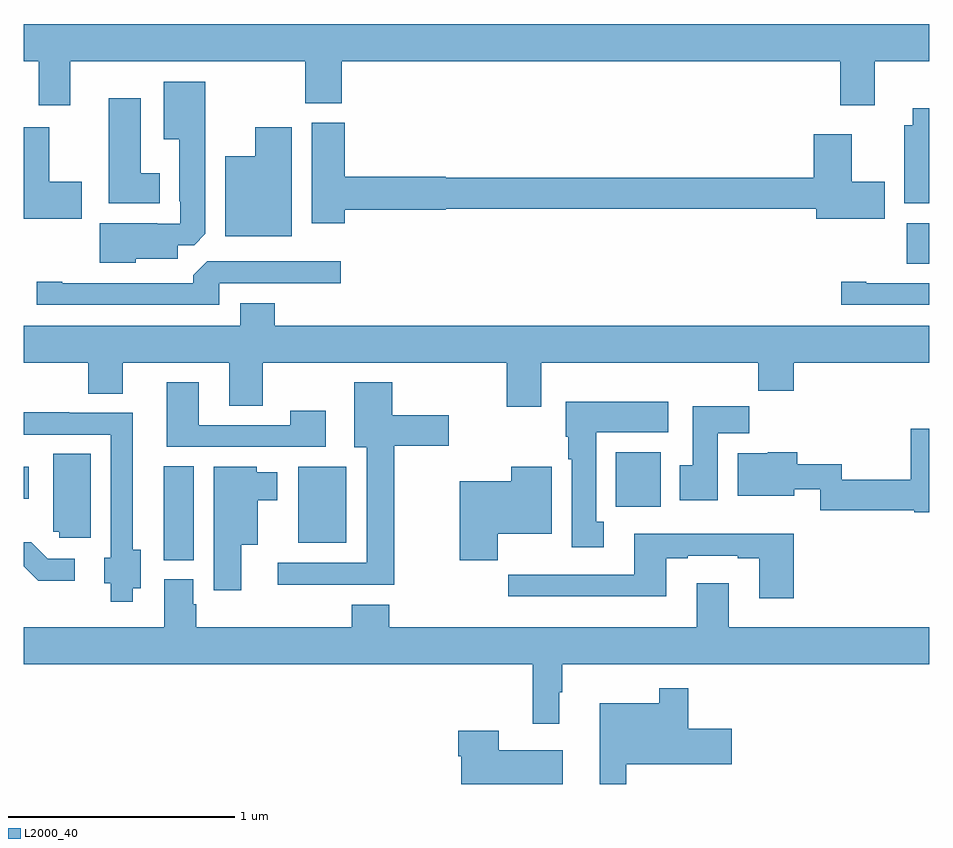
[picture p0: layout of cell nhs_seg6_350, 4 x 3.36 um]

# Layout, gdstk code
import gdstk
lib = gdstk.Library(unit=1e-6, precision=1e-09)
def R(c, l, rs):  # rectangles x0, y0, x1, y1
    for r in rs: c.add(gdstk.rectangle(r[:2], r[2:], *l))
def P(c, l, *ps):  # polygons
    for p in ps: c.add(gdstk.Polygon(p, *l))
L2000_40 = (2000, 40)

nhs_seg6_350 = lib.new_cell('nhs_seg6_350')
R(nhs_seg6_350, L2000_40, [(131.618,922.489,131.752,922.904), (132.212,922.565,132.424,922.9), (133.616,922.724,133.813,922.966), (131,922.76,131.023,922.9), (134.9,923.797,135,923.976)])
P(nhs_seg6_350, L2000_40, [(131.206,924.692),(132.244,924.692),(132.244,924.505),(132.404,924.505),(132.404,924.692),(134.606,924.692),(134.606,924.498),(134.758,924.498),(134.758,924.692),(135,924.692),(135,924.856),(131,924.856),(131,924.692),(131.066,924.692),(131.066,924.498),(131.206,924.498)],
  [(131.496,923.819),(131.68,923.819),(131.68,923.88),(131.754,923.88),(131.803,923.929),(131.803,924.601),(131.618,924.601),(131.618,924.347),(131.687,924.347),(131.687,924.073),(131.691,924.073),(131.691,923.973),(131.591,923.973),(131.591,923.977),(131.336,923.977),(131.336,923.801),(131.496,923.801)],
  [(131.602,924.196),(131.518,924.196),(131.518,924.529),(131.375,924.529),(131.375,924.065),(131.602,924.065)],
  [(135,924.484),(134.927,924.484),(134.927,924.409),(134.888,924.409),(134.888,924.065),(135,924.065)],
  [(132.419,924.035),(132.864,924.035),(132.864,924.04),(134.501,924.04),(134.501,923.996),(134.803,923.996),(134.803,924.159),(134.656,924.159),(134.656,924.37),(134.489,924.37),(134.489,924.176),(132.864,924.176),(132.864,924.182),(132.419,924.182),(132.419,924.42),(132.272,924.42),(132.272,923.976),(132.419,923.976)],
  [(131.257,924.159),(131.113,924.159),(131.113,924.4),(131,924.4),(131,923.996),(131.257,923.996)],
  [(132.184,924.4),(132.023,924.4),(132.023,924.271),(131.891,924.271),(131.891,923.918),(132.184,923.918)],
  [(131.865,923.712),(132.4,923.712),(132.4,923.808),(131.811,923.808),(131.75,923.746),(131.75,923.712),(131.17,923.712),(131.17,923.717),(131.058,923.717),(131.058,923.616),(131.865,923.616)],
  [(135,923.712),(134.722,923.712),(134.722,923.717),(134.61,923.717),(134.61,923.616),(135,923.616)],
  [(132.11,923.623),(131.957,923.623),(131.957,923.524),(131,923.524),(131,923.36),(131.285,923.36),(131.285,923.224),(131.437,923.224),(131.437,923.36),(131.909,923.36),(131.909,923.17),(132.057,923.17),(132.057,923.36),(133.133,923.36),(133.133,923.166),(133.285,923.166),(133.285,923.36),(134.245,923.36),(134.245,923.236),(134.402,923.236),(134.402,923.36),(135,923.36),(135,923.524),(132.11,923.524)],
  [(132.636,922.994),(132.877,922.994),(132.877,923.128),(132.628,923.128),(132.628,923.275),(132.461,923.275),(132.461,922.988),(132.515,922.988),(132.515,922.476),(132.123,922.476),(132.123,922.379),(132.636,922.379)],
  [(132.334,923.149),(132.178,923.149),(132.178,923.085),(131.773,923.085),(131.773,923.275),(131.633,923.275),(131.633,922.989),(132.334,922.989)],
  [(133.561,922.658),(133.528,922.658),(133.528,923.054),(133.846,923.054),(133.846,923.188),(133.394,923.188),(133.394,923.034),(133.406,923.034),(133.406,922.934),(133.421,922.934),(133.421,922.545),(133.561,922.545)],
  [(134.065,923.048),(134.204,923.048),(134.204,923.167),(133.955,923.167),(133.955,922.908),(133.898,922.908),(133.898,922.752),(134.065,922.752)],
  [(131.482,922.364),(131.518,922.364),(131.518,922.535),(131.482,922.535),(131.482,923.139),(131.201,923.139),(131.201,923.142),(131,923.142),(131,923.043),(131.385,923.043),(131.385,922.5),(131.357,922.5),(131.357,922.386),(131.384,922.386),(131.384,922.304),(131.482,922.304)],
  [(135,923.068),(134.918,923.068),(134.918,922.844),(134.613,922.844),(134.613,922.912),(134.417,922.912),(134.417,922.966),(134.286,922.966),(134.286,922.96),(134.153,922.96),(134.153,922.772),(134.404,922.772),(134.404,922.802),(134.517,922.802),(134.517,922.708),(134.934,922.708),(134.934,922.7),(135,922.7)],
  [(131.296,922.958),(131.132,922.958),(131.132,922.614),(131.157,922.614),(131.157,922.587),(131.296,922.587)],
  [(131.962,922.556),(132.034,922.556),(132.034,922.754),(132.121,922.754),(132.121,922.876),(132.03,922.876),(132.03,922.9),(131.84,922.9),(131.84,922.356),(131.962,922.356)],
  [(133.093,922.604),(133.333,922.604),(133.333,922.9),(133.154,922.9),(133.154,922.837),(132.925,922.837),(132.925,922.489),(133.093,922.489)],
  [(134.402,922.606),(133.697,922.606),(133.697,922.425),(133.249,922.425),(133.249,922.423),(133.14,922.423),(133.14,922.328),(133.837,922.328),(133.837,922.497),(133.933,922.497),(133.933,922.509),(134.153,922.509),(134.153,922.497),(134.249,922.497),(134.249,922.32),(134.402,922.32)],
  [(131.227,922.494),(131.106,922.494),(131.033,922.567),(131,922.567),(131,922.462),(131.065,922.397),(131.227,922.397)],
  [(131.749,922.293),(131.749,922.404),(131.621,922.404),(131.621,922.192),(131,922.192),(131,922.028),(133.249,922.028),(133.249,921.765),(133.366,921.765),(133.366,921.905),(133.378,921.905),(133.378,922.028),(135,922.028),(135,922.192),(134.113,922.192),(134.113,922.387),(133.973,922.387),(133.973,922.192),(132.614,922.192),(132.614,922.291),(132.449,922.291),(132.449,922.192),(131.762,922.192),(131.762,922.293)],
  [(133.661,921.587),(134.128,921.587),(134.128,921.745),(133.934,921.745),(133.934,921.922),(133.806,921.922),(133.806,921.856),(133.544,921.856),(133.544,921.5),(133.661,921.5)],
  [(133.381,921.649),(133.098,921.649),(133.098,921.736),(132.92,921.736),(132.92,921.623),(132.932,921.623),(132.932,921.5),(133.381,921.5)])

lib.write_gds('nhs_seg6_350.gds')
